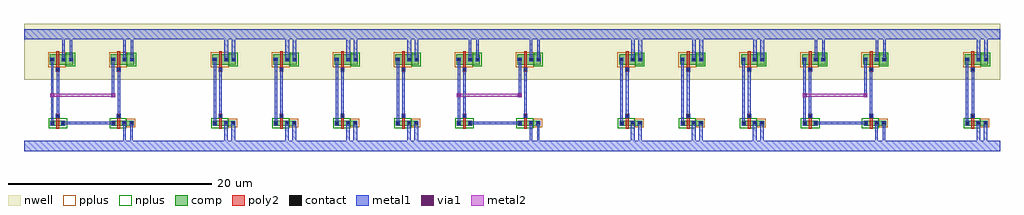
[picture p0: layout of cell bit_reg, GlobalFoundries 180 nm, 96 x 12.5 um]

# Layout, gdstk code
import gdstk
lib = gdstk.Library(unit=1e-6, precision=5e-09)
def R(c, l, rs):  # rectangles x0, y0, x1, y1
    for r in rs: c.add(gdstk.rectangle(r[:2], r[2:], *l))
nwell = (21, 0)
comp = (22, 0)
poly2 = (30, 0)
pplus = (31, 0)
nplus = (32, 0)
contact = (33, 0)
metal1 = (34, 0)
via1 = (35, 0)
metal2 = (36, 0)

async_nand2 = lib.new_cell('async_nand2')
R(async_nand2, nwell, [(0,4.5,16,10), (1.85,5.31,5.54,7.69), (7.85,5.31,11.54,7.69)])
R(async_nand2, comp, [(2.58,0,3,0.5), (3,0,3.66,0.5), (3.66,0,4.08,0.5), (8.58,0,9,0.5), (9,0,9.66,0.5), (9.66,0,10.08,0.5), (10.08,0,10.79,0.5), (2.54,6,3,7), (3,6,3.66,7), (3.66,6,4.12,7), (4.12,6,4.85,7), (8.54,6,9,7), (9,6,9.66,7), (9.66,6,10.12,7), (10.12,6,10.85,7)])
R(async_nand2, poly2, [(3.19,-0.3,3.47,0.8), (9.19,-0.3,9.47,0.8), (3.15,0.8,3.51,1.16), (9.15,0.8,9.51,1.16), (3.14,5.32,3.52,5.7), (9.14,5.32,9.52,5.7), (3.19,5.7,3.47,7.3), (9.19,5.7,9.47,7.3)])
R(async_nand2, pplus, [(10.08,-0.17,10.96,0.67), (2.37,5.76,4.12,7.24), (8.37,5.76,10.12,7.24)])
R(async_nand2, nplus, [(2.41,-0.24,4.25,0.74), (8.41,-0.24,10.08,0.74), (4.12,5.83,5.02,7.17), (10.12,5.83,11.02,7.17)])
R(async_nand2, contact, [(2.68,0.14,2.9,0.36), (3.76,0.14,3.98,0.36), (8.68,0.14,8.9,0.36), (9.76,0.14,9.98,0.36), (10.47,0.14,10.69,0.36), (3.22,0.87,3.44,1.09), (9.22,0.87,9.44,1.09), (3.22,5.4,3.44,5.62), (9.22,5.4,9.44,5.62), (2.66,6.39,2.88,6.61), (3.78,6.39,4,6.61), (4.51,6.39,4.73,6.61), (8.66,6.39,8.88,6.61), (9.78,6.39,10,6.61), (10.51,6.39,10.73,6.61)])
R(async_nand2, metal1, [(0,-2.5,16,-1.5), (9.75,-2.5,9.99,0.25), (10.46,-2.5,10.7,0.25), (2.6,0.06,2.98,0.44), (3.68,0.06,4.06,0.44), (8.6,0.06,8.98,0.44), (9.68,0.06,10.06,0.44), (10.39,0.06,10.77,0.44), (3.75,0.13,8.91,0.37), (2.66,0.25,2.9,6.5), (3.14,0.79,3.52,1.17), (9.14,0.79,9.52,1.17), (3.21,0.98,3.45,5.51), (9.21,0.98,9.45,5.51), (2.59,2.81,2.97,3.19), (8.58,2.81,8.96,3.19), (8.65,3,8.89,6.5), (3.14,5.32,3.52,5.7), (9.14,5.32,9.52,5.7), (2.58,6.31,2.96,6.69), (3.7,6.31,4.08,6.69), (4.43,6.31,4.81,6.69), (8.58,6.31,8.96,6.69), (9.7,6.31,10.08,6.69), (10.43,6.31,10.81,6.69), (3.77,6.5,4.01,9.5), (4.5,6.5,4.74,9.5), (9.77,6.5,10.01,9.5), (10.5,6.5,10.74,9.5), (0,8.5,16,9.5)])
R(async_nand2, via1, [(2.65,2.87,2.91,3.13), (8.64,2.87,8.9,3.13)])
R(async_nand2, metal2, [(2.59,2.81,2.97,3.19), (8.58,2.81,8.96,3.19), (2.59,2.86,8.96,3.14)])

async_inverter = lib.new_cell('async_inverter')
R(async_inverter, nwell, [(0,4.5,6,10), (0,4.5,6,10), (0,4.5,6,10), (1.85,5.31,5.54,7.69), (1.85,5.31,5.54,7.69), (1.85,5.31,5.54,7.69)])
R(async_inverter, comp, [(2.58,0,3,0.5), (2.58,0,3,0.5), (2.58,0,3,0.5), (3,0,3.66,0.5), (3,0,3.66,0.5), (3,0,3.66,0.5), (3.66,0,4.08,0.5), (3.66,0,4.08,0.5), (3.66,0,4.08,0.5), (4.08,0,4.79,0.5), (4.08,0,4.79,0.5), (4.08,0,4.79,0.5), (2.54,6,3,7), (2.54,6,3,7), (2.54,6,3,7), (3,6,3.66,7), (3,6,3.66,7), (3,6,3.66,7), (3.66,6,4.12,7), (3.66,6,4.12,7), (3.66,6,4.12,7), (4.12,6,4.85,7), (4.12,6,4.85,7), (4.12,6,4.85,7)])
R(async_inverter, poly2, [(3.19,-0.3,3.47,0.8), (3.19,-0.3,3.47,0.8), (3.19,-0.3,3.47,0.8), (3.15,0.8,3.51,1.16), (3.15,0.8,3.51,1.16), (3.15,0.8,3.51,1.16), (3.14,5.32,3.52,5.7), (3.14,5.32,3.52,5.7), (3.14,5.32,3.52,5.7), (3.19,5.7,3.47,7.3), (3.19,5.7,3.47,7.3), (3.19,5.7,3.47,7.3)])
R(async_inverter, pplus, [(4.08,-0.17,4.96,0.67), (4.08,-0.17,4.96,0.67), (4.08,-0.17,4.96,0.67), (2.37,5.76,4.12,7.24), (2.37,5.76,4.12,7.24), (2.37,5.76,4.12,7.24)])
R(async_inverter, nplus, [(2.41,-0.24,4.08,0.74), (2.41,-0.24,4.08,0.74), (2.41,-0.24,4.08,0.74), (4.12,5.83,5.02,7.17), (4.12,5.83,5.02,7.17), (4.12,5.83,5.02,7.17)])
R(async_inverter, contact, [(2.68,0.14,2.9,0.36), (2.68,0.14,2.9,0.36), (2.68,0.14,2.9,0.36), (3.76,0.14,3.98,0.36), (3.76,0.14,3.98,0.36), (3.76,0.14,3.98,0.36), (4.47,0.14,4.69,0.36), (4.47,0.14,4.69,0.36), (4.47,0.14,4.69,0.36), (3.22,0.87,3.44,1.09), (3.22,0.87,3.44,1.09), (3.22,0.87,3.44,1.09), (3.22,5.4,3.44,5.62), (3.22,5.4,3.44,5.62), (3.22,5.4,3.44,5.62), (2.66,6.39,2.88,6.61), (2.66,6.39,2.88,6.61), (2.66,6.39,2.88,6.61), (3.78,6.39,4,6.61), (3.78,6.39,4,6.61), (3.78,6.39,4,6.61), (4.51,6.39,4.73,6.61), (4.51,6.39,4.73,6.61), (4.51,6.39,4.73,6.61)])
R(async_inverter, metal1, [(0,-2.5,6,-1.5), (0,-2.5,6,-1.5), (0,-2.5,6,-1.5), (3.69,-2.5,4.05,0.25), (3.69,-2.5,4.05,0.25), (3.69,-2.5,4.05,0.25), (4.4,-2.5,4.76,0.25), (4.4,-2.5,4.76,0.25), (4.4,-2.5,4.76,0.25), (2.6,0.06,2.98,0.44), (2.6,0.06,2.98,0.44), (2.6,0.06,2.98,0.44), (3.68,0.06,4.06,0.44), (3.68,0.06,4.06,0.44), (3.68,0.06,4.06,0.44), (4.39,0.06,4.77,0.44), (4.39,0.06,4.77,0.44), (4.39,0.06,4.77,0.44), (2.64,0.12,2.9,6.63), (2.64,0.12,2.9,6.63), (2.64,0.12,2.9,6.63), (3.14,0.79,3.52,1.17), (3.14,0.79,3.52,1.17), (3.14,0.79,3.52,1.17), (3.2,0.85,3.46,5.64), (3.2,0.85,3.46,5.64), (3.2,0.85,3.46,5.64), (3.14,5.32,3.52,5.7), (3.14,5.32,3.52,5.7), (3.14,5.32,3.52,5.7), (2.58,6.31,2.96,6.69), (2.58,6.31,2.96,6.69), (2.58,6.31,2.96,6.69), (3.7,6.31,4.08,6.69), (3.7,6.31,4.08,6.69), (3.7,6.31,4.08,6.69), (4.43,6.31,4.81,6.69), (4.43,6.31,4.81,6.69), (4.43,6.31,4.81,6.69), (3.71,6.5,4.07,9.5), (3.71,6.5,4.07,9.5), (3.71,6.5,4.07,9.5), (4.44,6.5,4.8,9.5), (4.44,6.5,4.8,9.5), (4.44,6.5,4.8,9.5), (0,8.5,6,9.5), (0,8.5,6,9.5), (0,8.5,6,9.5)])

async_nor2 = lib.new_cell('async_nor2')
async_nor2.add(gdstk.Reference(async_inverter, (0,0)))
async_nor2.add(gdstk.Reference(async_inverter, (6,0)))
async_nor2.add(gdstk.Reference(async_nand2, (12,0)))
async_nor2.add(gdstk.Reference(async_inverter, (28,0)))

bit_reg = lib.new_cell('bit_reg')
bit_reg.add(gdstk.Reference(async_nand2, (0,0)))
bit_reg.add(gdstk.Reference(async_inverter, (16,0)))
bit_reg.add(gdstk.Reference(async_inverter, (22,0)))
bit_reg.add(gdstk.Reference(async_nor2, (28,0)))
bit_reg.add(gdstk.Reference(async_nor2, (62,0)))

lib.write_gds('bit_reg.gds')
